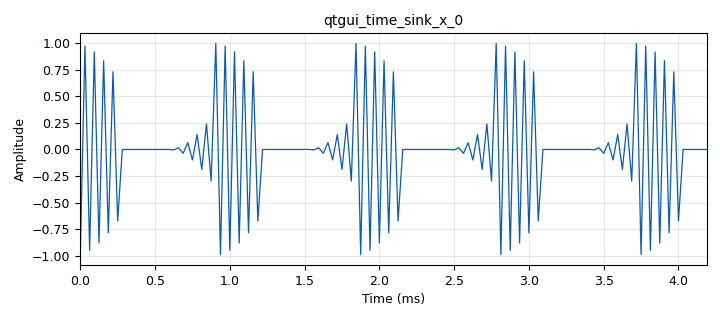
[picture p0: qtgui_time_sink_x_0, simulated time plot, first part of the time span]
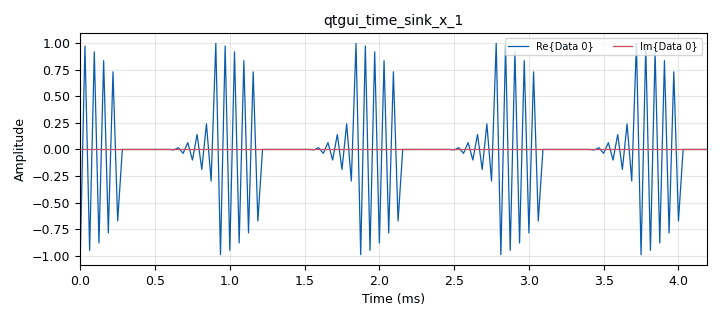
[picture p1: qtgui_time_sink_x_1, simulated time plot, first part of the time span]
options:
  parameters:
    category: Custom
    generate_options: qt_gui
    id: burst_shaper
    output_language: python
    run_options: run
  states: {}

blocks:
- name: samp_rate
  id: variable
  parameters:
    value: '32000'
  states: {}
- name: window_taps
  id: variable
  parameters:
    value: fft.window.hann(10)
  states: {}
- name: blocks_message_debug_0
  id: blocks_message_debug
  parameters: {}
  states: {}
- name: blocks_message_debug_0_0
  id: blocks_message_debug
  parameters: {}
  states: {}
- name: blocks_tag_debug_0
  id: blocks_tag_debug
  parameters:
    filter: '"packet_len"'
    name: Float
    type: float
  states: {}
- name: blocks_tag_debug_0_0
  id: blocks_tag_debug
  parameters:
    filter: '"packet_len"'
    name: Complex
    type: complex
  states: {}
- name: blocks_tagged_stream_to_pdu_0
  id: blocks_tagged_stream_to_pdu
  parameters:
    tag: packet_len
    type: float
  states: {}
- name: blocks_tagged_stream_to_pdu_1
  id: blocks_tagged_stream_to_pdu
  parameters:
    tag: packet_len
    type: complex
  states: {}
- name: blocks_throttle_0
  id: blocks_throttle
  parameters:
    samples_per_second: samp_rate
    type: float
  states: {}
- name: blocks_throttle_0_0
  id: blocks_throttle
  parameters:
    samples_per_second: samp_rate
    type: complex
  states: {}
- name: blocks_vector_source_x_0
  id: blocks_vector_source_x
  parameters:
    repeat: 'True'
    tags: '[gr.python_to_tag({''offset'':0, ''key'':pmt.intern(''packet_len''), ''value'':pmt.from_long(20), ''srcid'':pmt.intern(''vector_source'')})]'
    type: complex
    vector: '[complex(1.0), complex(-1.0)]*15'
  states: {}
- name: blocks_vector_source_x_0_0
  id: blocks_vector_source_x
  parameters:
    repeat: 'True'
    tags: '[gr.python_to_tag({''offset'':0, ''key'':pmt.intern(''packet_len''), ''value'':pmt.from_long(20), ''srcid'':pmt.intern(''vector_source'')})]'
    type: float
    vector: '[1.0, -1.0]*15'
  states: {}
- name: digital_burst_shaper_xx_0
  id: digital_burst_shaper_xx
  parameters:
    insert_phasing: 'False'
    length_tag_name: '"packet_len"'
    post_padding: '5'
    pre_padding: '5'
    type: float
    window: firdes.window(firdes.WIN_HANN, 50, 0)
  states: {}
- name: digital_burst_shaper_xx_0_0
  id: digital_burst_shaper_xx
  parameters:
    insert_phasing: 'False'
    length_tag_name: '"packet_len"'
    post_padding: '5'
    pre_padding: '5'
    type: complex
    window: firdes.window(firdes.WIN_HANN, 50, 0)
  states: {}
- name: import_0
  id: import
  parameters:
    imports: import pmt
  states: {}
- name: import_0_0
  id: import
  parameters:
    imports: from gnuradio import fft
  states: {}
- name: qtgui_time_sink_x_0
  id: qtgui_time_sink_x
  parameters:
    autoscale: 'True'
    size: '1024'
    srate: samp_rate
    type: float
  states: {}
- name: qtgui_time_sink_x_1
  id: qtgui_time_sink_x
  parameters:
    autoscale: 'True'
    size: '1024'
    srate: samp_rate
    type: complex
  states: {}

connections:
- [blocks_tagged_stream_to_pdu_0, pdus, blocks_message_debug_0, print]
- [blocks_tagged_stream_to_pdu_1, pdus, blocks_message_debug_0_0, print]
- [blocks_throttle_0, '0', blocks_tag_debug_0, '0']
- [blocks_throttle_0, '0', blocks_tagged_stream_to_pdu_0, '0']
- [blocks_throttle_0, '0', qtgui_time_sink_x_0, '0']
- [blocks_throttle_0_0, '0', blocks_tag_debug_0_0, '0']
- [blocks_throttle_0_0, '0', blocks_tagged_stream_to_pdu_1, '0']
- [blocks_throttle_0_0, '0', qtgui_time_sink_x_1, '0']
- [blocks_vector_source_x_0, '0', digital_burst_shaper_xx_0_0, '0']
- [blocks_vector_source_x_0_0, '0', digital_burst_shaper_xx_0, '0']
- [digital_burst_shaper_xx_0, '0', blocks_throttle_0, '0']
- [digital_burst_shaper_xx_0_0, '0', blocks_throttle_0_0, '0']

metadata:
  file_format: 1
